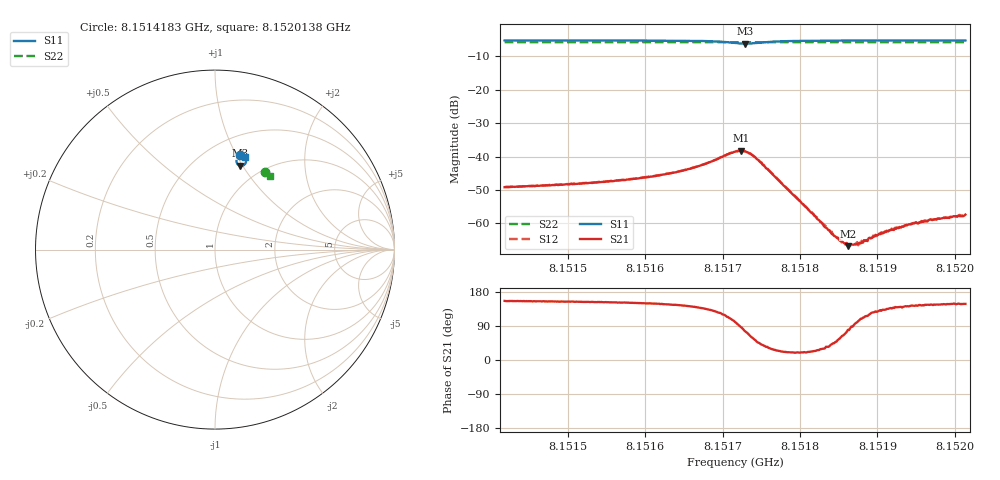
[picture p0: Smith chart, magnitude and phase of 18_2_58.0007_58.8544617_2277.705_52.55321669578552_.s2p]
#  HZ  S  RI  R  50.00
! Rohde & Schwarz Vector Network Analyzer
! Rohde-Schwarz,ZNB20-2Port,1311601062101988,3.16
! Created: UTC 3/21/2024, 12:51:04 AM
! freq[Hz]  re:S11  im:S11  re:S21  im:S21  re:S12  im:S12  re:S22  im:S22
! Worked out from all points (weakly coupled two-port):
!   401 points, 8.1514183 GHz to 8.1520138 GHz, reference 50 ohm
!   highest |S21| = -38.27 dB at 8.1517235 GHz (marker M1); lowest = -66.8 dB at 8.1518619 GHz (marker M2)
!   lowest |S11| = -6.2 dB at 8.1517294 GHz (marker M3), VSWR 2.91, Z = 39.7 + j48.7 ohm
!   |S11| at or under -10 dB: nowhere
!   |S22| runs from -5.8 to -5.8 dB; largest |S21 - S12| = 0.00034
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8.15141829e9  0.1373 0.5265  -0.00318 0.00142  -0.00319 0.00149  0.2781 0.4325
8.15151804e9  0.1464 0.5238  -0.00352 0.00177  -0.00353 0.00182  0.2833 0.4286
8.15157461e9  0.1524 0.5213  -0.00392 0.00213  -0.00394 0.00226  0.2865 0.4265
8.15161778e9  0.1585 0.5183  -0.00444 0.00272  -0.00443 0.00286  0.2888 0.4248
8.15164458e9  0.163 0.515  -0.00487 0.00348  -0.00488 0.00357  0.2902 0.4236
8.15166542e9  0.1676 0.5102  -0.00532 0.00451  -0.0053 0.0046  0.2914 0.4227
8.15171603e9  0.1629 0.4724  -0.00212 0.0116  -0.00199 0.0117  0.293 0.4196
8.15172348e9  0.1509 0.467  0.000629 0.0122  0.000716 0.0122  0.2929 0.4194
8.15172943e9  0.1394 0.4675  0.00302 0.0116  0.00313 0.0116  0.2928 0.4194
8.15173688e9  0.1272 0.4748  0.0052 0.00941  0.00532 0.00955  0.2927 0.4197
8.1517473e9  0.1202 0.4899  0.00608 0.00605  0.00621 0.00601  0.2934 0.4198
8.15181578e9  0.1421 0.5199  0.00131 0.000553  0.00134 0.000545  0.2982 0.4182
8.15184406e9  0.1479 0.5207  0.000467 0.000452  0.00047 0.000435  0.2997 0.4169
8.15185597e9  0.15 0.5205  0.00022 0.000467  0.000211 0.000444  0.3004 0.4167
8.15186193e9  0.1508 0.5206  8.34e-05 0.000449  0.000111 0.000467  0.3006 0.4163
8.15186788e9  0.1518 0.5204  1.77e-05 0.000483  4.68e-05 0.000471  0.301 0.416
8.1518783e9  0.1531 0.5205  -0.000161 0.000476  -0.000136 0.000475  0.3017 0.4155
8.1518917e9  0.155 0.5203  -0.000332 0.000502  -0.00032 0.000503  0.3023 0.4151
8.15191552e9  0.1577 0.52  -0.000574 0.000551  -0.000559 0.000547  0.3036 0.4141
8.15193934e9  0.1602 0.5195  -0.000749 0.000586  -0.000744 0.000588  0.3048 0.4131
8.15196018e9  0.1623 0.5191  -0.000865 0.000626  -0.000886 0.00065  0.3061 0.4124
8.15201377e9  0.1672 0.518  -0.00115 0.000717  -0.00113 0.000704  0.3088 0.4103
